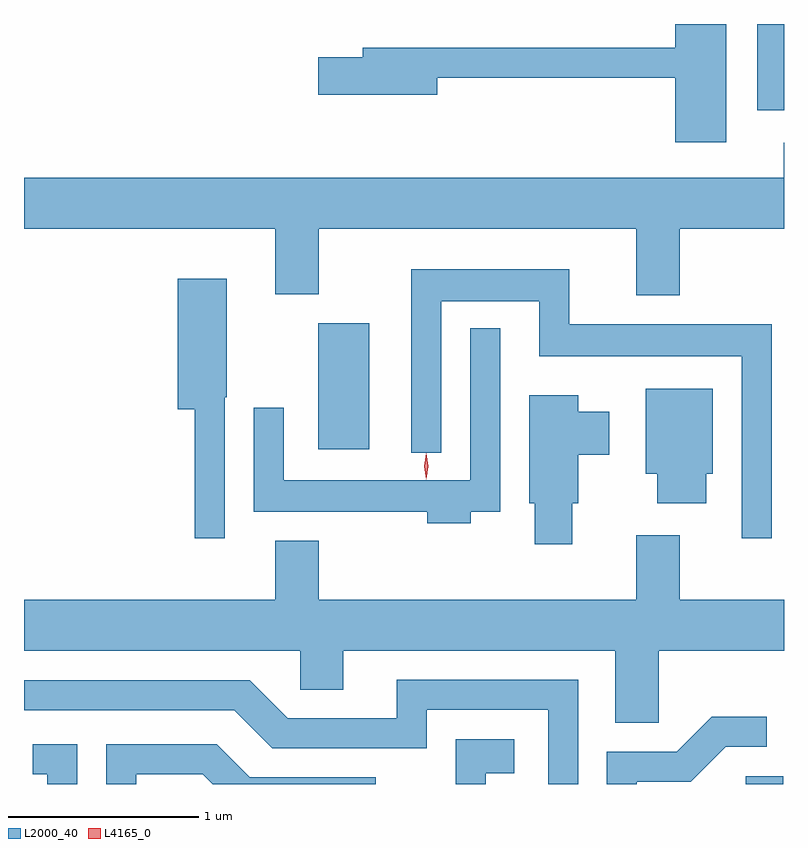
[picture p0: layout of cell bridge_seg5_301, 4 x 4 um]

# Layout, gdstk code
import gdstk
lib = gdstk.Library(unit=1e-6, precision=1e-09)
def R(c, l, rs):  # rectangles x0, y0, x1, y1
    for r in rs: c.add(gdstk.rectangle(r[:2], r[2:], *l))
def P(c, l, *ps):  # polygons
    for p in ps: c.add(gdstk.Polygon(p, *l))
L2000_40 = (2000, 40)
L4165_0 = (4165, 0)

bridge_seg5_301 = lib.new_cell('bridge_seg5_301')
R(bridge_seg5_301, L2000_40, [(660.776,1516.034,660.974,1516.074), (658.526,1517.796,658.794,1518.459), (660.836,1519.581,660.978,1520.034)])
P(bridge_seg5_301, L2000_40, [(660.674,1520.034),(660.406,1520.034),(660.406,1519.909),(658.761,1519.909),(658.761,1519.859),(658.526,1519.859),(658.526,1519.661),(659.154,1519.661),(659.154,1519.751),(660.406,1519.751),(660.406,1519.411),(660.674,1519.411)],
  [(660.429,1518.956),(660.978,1518.956),(660.978,1519.409),(660.976,1519.409),(660.976,1519.224),(656.978,1519.224),(656.978,1518.956),(658.301,1518.956),(658.301,1518.611),(658.529,1518.611),(658.529,1518.956),(660.201,1518.956),(660.201,1518.606),(660.429,1518.606)],
  [(660.914,1518.454),(659.849,1518.454),(659.849,1518.744),(659.016,1518.744),(659.016,1517.778),(659.174,1517.778),(659.174,1518.576),(659.691,1518.576),(659.691,1518.286),(660.756,1518.286),(660.756,1517.328),(660.914,1517.328)],
  [(658.034,1518.07),(658.044,1518.07),(658.044,1518.694),(657.786,1518.694),(657.786,1518.006),(657.876,1518.006),(657.876,1517.328),(658.034,1517.328)],
  [(659.329,1517.466),(659.484,1517.466),(659.484,1518.433),(659.326,1518.433),(659.326,1517.634),(658.344,1517.634),(658.344,1518.013),(658.186,1518.013),(658.186,1517.466),(659.101,1517.466),(659.101,1517.406),(659.329,1517.406)],
  [(660.569,1517.666),(660.604,1517.666),(660.604,1518.114),(660.251,1518.114),(660.251,1517.666),(660.311,1517.666),(660.311,1517.511),(660.569,1517.511)],
  [(659.864,1517.511),(659.894,1517.511),(659.894,1517.766),(660.059,1517.766),(660.059,1517.994),(659.894,1517.994),(659.894,1518.079),(659.636,1518.079),(659.636,1517.511),(659.666,1517.511),(659.666,1517.296),(659.864,1517.296)],
  [(660.319,1516.736),(660.978,1516.736),(660.978,1517.004),(660.429,1517.004),(660.429,1517.344),(660.201,1517.344),(660.201,1517.004),(658.529,1517.004),(658.529,1517.314),(658.301,1517.314),(658.301,1517.004),(656.978,1517.004),(656.978,1516.736),(658.431,1516.736),(658.431,1516.531),(658.659,1516.531),(658.659,1516.736),(660.091,1516.736),(660.091,1516.356),(660.319,1516.356)],
  [(659.894,1516.584),(658.941,1516.584),(658.941,1516.379),(658.367,1516.379),(658.167,1516.579),(656.978,1516.579),(656.978,1516.421),(658.084,1516.421),(658.284,1516.221),(659.099,1516.221),(659.099,1516.426),(659.736,1516.426),(659.736,1516.034),(659.894,1516.034)],
  [(660.204,1516.046),(660.487,1516.046),(660.672,1516.231),(660.888,1516.231),(660.888,1516.389),(660.599,1516.389),(660.414,1516.204),(660.046,1516.204),(660.046,1516.034),(660.204,1516.034)],
  [(659.409,1516.091),(659.559,1516.091),(659.559,1516.269),(659.251,1516.269),(659.251,1516.034),(659.409,1516.034)],
  [(657.259,1516.244),(657.023,1516.244),(657.023,1516.086),(657.101,1516.086),(657.101,1516.034),(657.259,1516.034)],
  [(657.569,1516.086),(657.919,1516.086),(657.971,1516.034),(658.829,1516.034),(658.829,1516.069),(658.167,1516.069),(657.992,1516.244),(657.411,1516.244),(657.411,1516.034),(657.569,1516.034)])
P(bridge_seg5_301, L4165_0, [(659.094,1517.637),(659.085,1517.706),(659.094,1517.776),(659.095,1517.776),(659.095,1517.776),(659.105,1517.706),(659.095,1517.637),(659.095,1517.637)],
  [(659.095,1517.639),(659.094,1517.64),(659.085,1517.706),(659.094,1517.772),(659.095,1517.773),(659.095,1517.772),(659.105,1517.706),(659.095,1517.64)])

lib.write_gds('bridge_seg5_301.gds')
